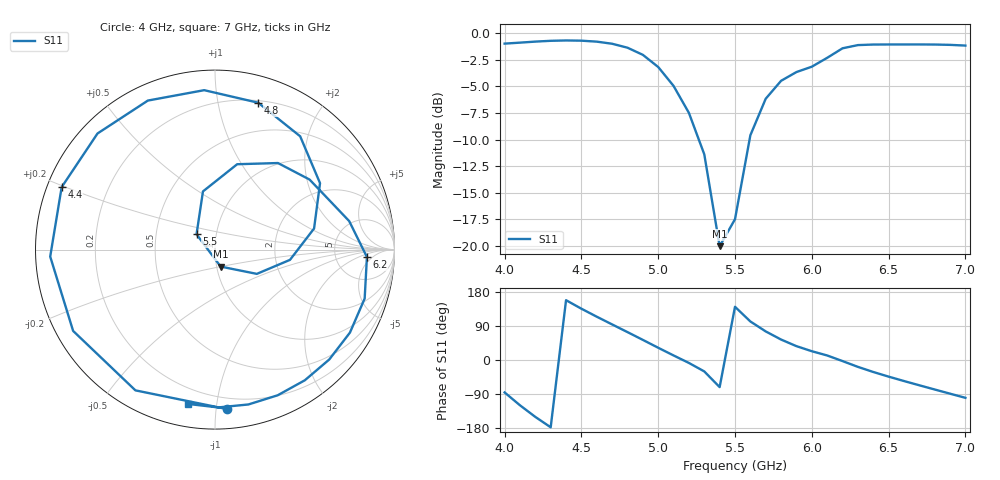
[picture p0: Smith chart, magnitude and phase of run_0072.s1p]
! Touchstone file exported from HFSS 2024.2.0
!  File:  C:/Users/wsak9/Desktop/Sim Fast/Widenad Patch/WP_AI_V1_sweep.aedt
!  Generated:  05:58:18 PM Oct 13, 2026
!  Design:  A1_model
!  Project:  WP_AI_V1_sweep
!  Setup:  Setup1
!  Solution:  Sweep
! Variables:
!  Air_gap = 3.48mm
!  Curve_Amp1 = 3.71
!  Curve_len1 = 1
!  Curve_pos = 10.415mm
!  Extra = 6.14mm
!  H_sub = 0.79mm
!  L_Patch = 16.83mm
!  L_Patch1 = 16.12mm
!  Sx = 2.76mm
!  Sy = 3.02mm
!  WS = 1.49mm
!  W_Patch = 14.86mm
!  W_Patch1 = 9.98mm
!Data is not renormalized
# GHz S MA
! Terminal data exported
! Port[1] = 1
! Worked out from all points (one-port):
!   31 points, 4 GHz to 7 GHz, reference per port
!   lowest |S11| = -20.0 dB at 5.4 GHz (marker M1), VSWR 1.22
!   |S11| at or under -10 dB: 5.264 GHz to 5.595 GHz (330.7 MHz wide, 6.09 % of centre)
!   S11 on the Smith chart (normalised r, x): 4 GHz: 0.12, -1.07; 4.4 GHz: 0.04, +0.20; 4.8 GHz: 0.22, +1.31; 5.5 GHz: 0.80, +0.14; 6.2 GHz: 11, -3; 7 GHz: 0.12, -0.83
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4  0.8915 -85.6
4.1  0.9009 -119.5
4.2  0.9111 -150.2
4.3  0.919 -177.6
4.4  0.9225 157.8
4.5  0.9203 135.3
4.6  0.9107 114.3
4.7  0.8903 93.9
4.8  0.853 73.6
4.9  0.7897 53.1
5  0.6924 32.3
5.1  0.5643 12.0
5.2  0.4216 -7.8
5.3  0.2694 -30.1
5.4  0.09984 -71.5
5.5  0.1336 140.4
5.6  0.3311 101.7
5.7  0.4914 75.4
5.8  0.5964 54.0
5.9  0.6556 36.5
6.1  0.7645 12.0
6.2  0.8475 -2.8
6.3  0.8774 -18.1
6.4  0.8827 -31.6
6.5  0.8832 -43.9
6.7  0.8836 -66.7
6.9  0.8796 -88.8
7  0.8728 -99.8
